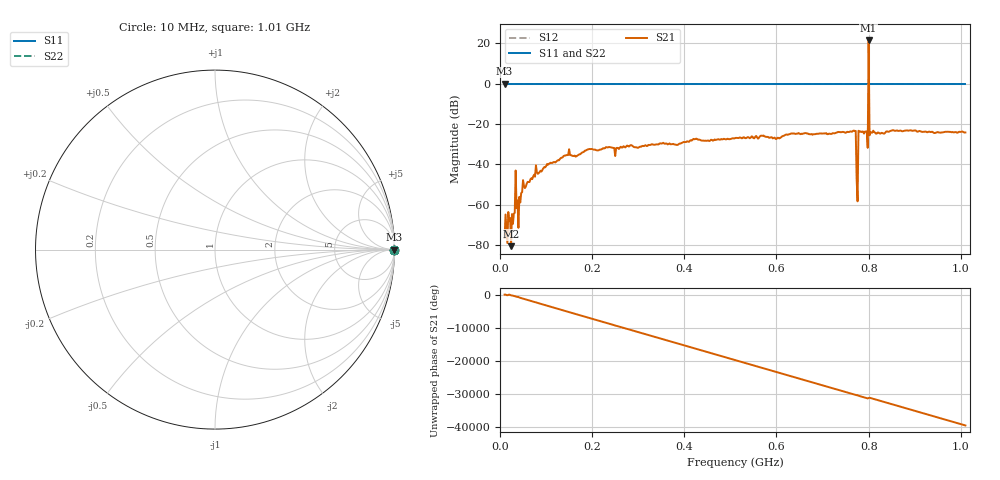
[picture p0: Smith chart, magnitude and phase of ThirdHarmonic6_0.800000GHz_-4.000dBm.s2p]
! 8/16/2025 2:40:10 AM
! C:\ANRITSUVNA\TEMP\TEMP.S2P
! CHANNEL.1
! TR.MEASUREMENT
! RAW.DATA
! RF.CORRECTION.OFF
! AVERAGING.OFF
! IF.BANDWIDTH: 5KHZ
! SWEEPTYPE:  FREQ.SWEEP(Linear)
! Reference Plane Port Info
! PORT:  PORT1  PORT2
! DISTANCE:  0  m  0  m
! TIME:  0  s  0  s
! PHASE.OFFSET:  0  deg.  0  deg.
! LOSS:  0  dB  0  dB
! REF.LOSS:  0  dB  0  dB
! REF.FREQ:  0  Hz  0  Hz
! Power Info
! POWER:  -20  dBm  -20  dBm
! EFF.POWER:  -20  dBm  -20  dBm
! SOURCE.ATTEN:  0  dB  0  dB
! TEST.ATTEN:  0  dB  0  dB
# GHZ S RI R 50.0
! FREQ.GHZ  S11RE  S11IM  S21RE  S21IM  S12RE  S12IM  S22RE  S22IM
!; PortSelection: Port_12
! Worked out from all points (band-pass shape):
!   501 points, 10 MHz to 1.01 GHz, reference 50 ohm
!   highest |S21| = 21.42 dB at 800 MHz (marker M1); lowest = -80.5 dB at 24 MHz (marker M2)
!   |S21| within 3 dB of the highest: 799.8872 MHz to 800.1278 MHz (240.6 kHz wide, 0.0301 % of centre)
!   lowest |S11| = 0.0 dB at 10 MHz (marker M3)
!   |S11| at or under -10 dB: nowhere
!   |S22| runs from 0.0 to 0.0 dB; largest |S21 - S12| = 13
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0.01  1 0  -6.09e-05 0.00014  1 0  1 0
0.024  1 0  -6.3e-06 -9.47e-05  1 0  1 0
0.028  1 0  -0.000328 7.86e-05  1 0  1 0
0.034  1 0  9.3e-05 -0.00709  1 0  1 0
0.04  1 0  -0.000181 0.000199  1 0  1 0
0.05  1 0  0.00392 -0.00121  1 0  1 0
0.076  1 0  0.00498 0.000171  1 0  1 0
0.178  1 0  -0.019 -0.00513  1 0  1 0
0.344  1 0  0.0308 -0.00544  1 0  1 0
0.51  1 0  -0.0428 0.0132  1 0  1 0
0.678  1 0  -0.0228 -0.0496  1 0  1 0
0.768  1 0  -0.052 -0.0458  1 0  1 0
0.772  1 0  0.0349 0.0581  1 0  1 0
0.778  1 0  -0.0682 0.00452  1 0  1 0
0.782  1 0  0.0643 0.0149  1 0  1 0
0.794  1 0  -0.0216 -0.062  1 0  1 0
0.796  1 0  -0.0648 0.0115  1 0  1 0
0.8  1 0  -10.73 -4.844  1 0  1 0
0.804  1 0  -0.0565 -0.0279  1 0  1 0
0.806  1 0  -0.0367 0.0494  1 0  1 0
0.844  1 0  0.045 0.0465  1 0  1 0
1.01  1 0  -0.0589 -0.0198  1 0  1 0
